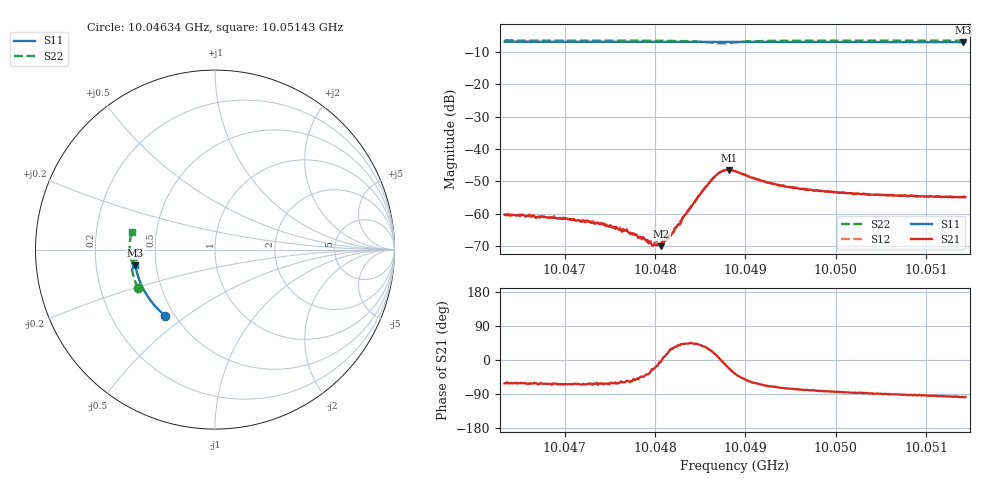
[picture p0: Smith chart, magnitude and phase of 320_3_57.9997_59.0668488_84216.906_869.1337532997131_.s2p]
#  HZ  S  RI  R  50.00
! Rohde & Schwarz Vector Network Analyzer
! Rohde-Schwarz,ZNB20-2Port,1311601062101988,3.16
! Created: UTC 3/21/2024, 1:04:40 AM
! freq[Hz]  re:S11  im:S11  re:S21  im:S21  re:S12  im:S12  re:S22  im:S22
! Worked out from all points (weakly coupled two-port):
!   401 points, 10.04634 GHz to 10.05143 GHz, reference 50 ohm
!   highest |S21| = -46.50 dB at 10.04882 GHz (marker M1); lowest = -70.1 dB at 10.04807 GHz (marker M2)
!   lowest |S11| = -6.9 dB at 10.05141 GHz (marker M3), VSWR 2.65, Z = 19 - j4.22 ohm
!   |S11| at or under -10 dB: nowhere
!   |S22| runs from -7.2 to -6.4 dB; largest |S21 - S12| = 0.00032
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1.0046337e10  -0.277 -0.3689  0.000457 -0.000842  0.000535 -0.000786  -0.4287 -0.2164
1.0046885e10  -0.3044 -0.3451  0.000397 -0.000766  0.00047 -0.000786  -0.4433 -0.1825
1.004719e10  -0.3186 -0.3309  0.000315 -0.00068  0.000382 -0.000696  -0.4501 -0.1628
1.0047394e10  -0.3279 -0.3212  0.000317 -0.000608  0.000358 -0.000619  -0.4542 -0.1492
1.0047611e10  -0.3375 -0.3105  0.000288 -0.000493  0.000322 -0.000514  -0.4582 -0.1344
1.0047675e10  -0.3402 -0.3073  0.000293 -0.000462  0.000312 -0.000443  -0.4591 -0.1301
1.0047891e10  -0.3492 -0.296  0.000301 -0.000258  0.000291 -0.000248  -0.4619 -0.1143
1.0047955e10  -0.3519 -0.2928  0.000307 -0.000169  0.000338 -0.000164  -0.4628 -0.1093
1.0048044e10  -0.3554 -0.2883  0.000334 -3.81e-05  0.000339 -1.14e-05  -0.4635 -0.1024
1.004807e10  -0.3565 -0.2868  0.000312 -1.6e-05  0.000352 2.12e-05  -0.4635 -0.1004
1.0048172e10  -0.3604 -0.2815  0.000406 0.000218  0.000391 0.000211  -0.4637 -0.0921
1.004849e10  -0.3726 -0.2642  0.00147 0.00122  0.0014 0.00134  -0.4555 -0.0631
1.0048643e10  -0.3777 -0.2558  0.00333 0.0012  0.00327 0.00141  -0.4388 -0.0562
1.0048732e10  -0.3809 -0.2509  0.00444 -7.99e-05  0.00447 0.000224  -0.4303 -0.0643
1.0048821e10  -0.3839 -0.2461  0.00436 -0.00184  0.00446 -0.00159  -0.4344 -0.0754
1.0048885e10  -0.386 -0.2426  0.00366 -0.00264  0.00384 -0.00244  -0.4426 -0.0783
1.0049267e10  -0.3986 -0.2207  0.00106 -0.00278  0.00124 -0.00273  -0.4695 -0.0508
1.0049739e10  -0.412 -0.1929  0.000408 -0.00228  0.000513 -0.00228  -0.4753 -0.0142
1.005021e10  -0.4234 -0.164  0.000144 -0.00201  0.000229 -0.00203  -0.4757 0.0192
1.0050593e10  -0.4312 -0.1403  -1.13e-05 -0.00194  9.07e-05 -0.00193  -0.4737 0.0451
1.0051408e10  -0.4435 -0.0883  -0.000241 -0.00179  -0.000161 -0.0018  -0.4653 0.0988
1.0051434e10  -0.4439 -0.0867  -0.000234 -0.00179  -0.000155 -0.0018  -0.4647 0.1006
